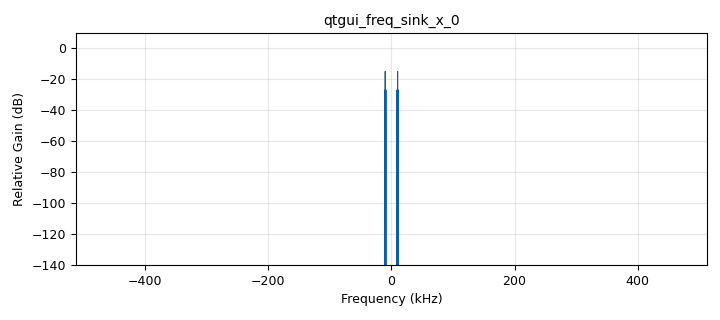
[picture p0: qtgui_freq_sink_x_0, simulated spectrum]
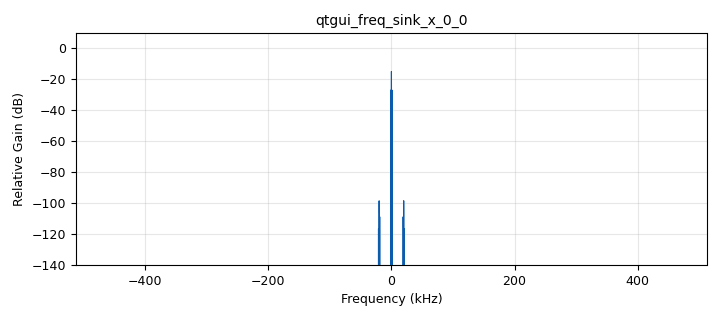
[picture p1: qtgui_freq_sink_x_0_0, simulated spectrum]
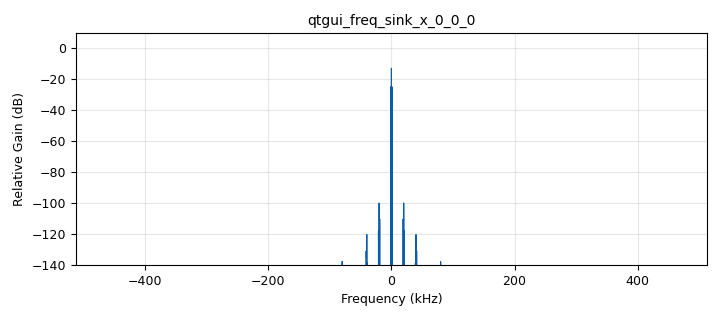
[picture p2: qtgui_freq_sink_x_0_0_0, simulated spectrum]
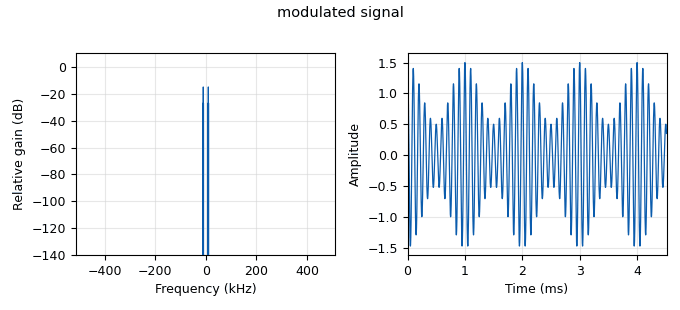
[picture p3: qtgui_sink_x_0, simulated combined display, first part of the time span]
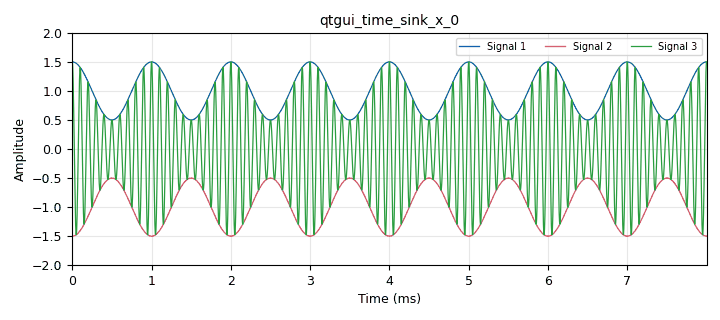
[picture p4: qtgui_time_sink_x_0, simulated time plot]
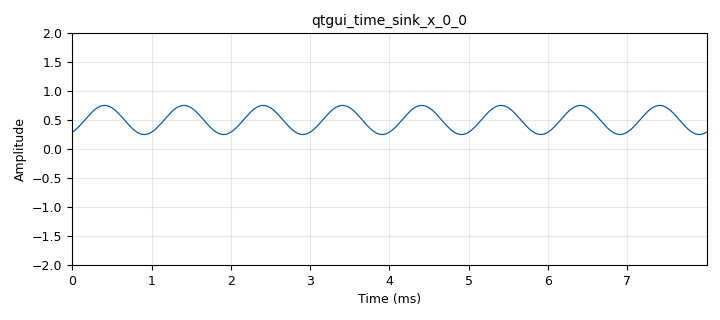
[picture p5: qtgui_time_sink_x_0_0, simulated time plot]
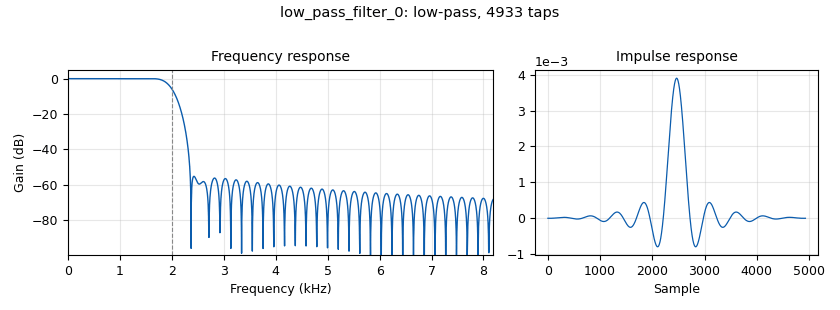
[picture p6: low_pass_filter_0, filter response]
options:
  parameters:
    generate_options: qt_gui
    id: Part1_AM_Modulation
    output_language: python
    title: Not titled yet
  states: {}

blocks:
- name: mue
  id: variable_qtgui_range
  parameters:
    label: mue
    start: '0.1'
    step: '0.1'
    stop: '2.5'
    value: '0.5'
  states: {}
- name: samp_rate
  id: variable
  parameters:
    value: 32000*32
  states: {}
- name: analog_noise_source_x_0
  id: analog_noise_source_x
  parameters:
    amp: '0'
    noise_type: analog.GR_GAUSSIAN
    seed: '0'
    type: float
  states: {}
- name: analog_sig_source_x_0
  id: analog_sig_source_x
  parameters:
    amp: '1'
    freq: '1000'
    offset: '0'
    phase: '0'
    samp_rate: samp_rate
    type: float
    waveform: analog.GR_COS_WAVE
  states: {}
- name: analog_sig_source_x_1
  id: analog_sig_source_x
  parameters:
    amp: '1'
    freq: '10000'
    offset: '0'
    phase: '0'
    samp_rate: samp_rate
    type: float
    waveform: analog.GR_COS_WAVE
  states: {}
- name: blocks_abs_xx_0
  id: blocks_abs_xx
  parameters:
    type: float
  states: {}
- name: blocks_add_const_vxx_0
  id: blocks_add_const_vxx
  parameters:
    const: '1'
    type: float
  states: {}
- name: blocks_add_xx_0
  id: blocks_add_xx
  parameters:
    type: float
  states: {}
- name: blocks_multiply_const_vxx_0
  id: blocks_multiply_const_vxx
  parameters:
    const: mue
    type: float
  states: {}
- name: blocks_multiply_const_vxx_1
  id: blocks_multiply_const_vxx
  parameters:
    const: '-1'
    type: float
  states: {}
- name: blocks_multiply_xx_0
  id: blocks_multiply_xx
  parameters:
    type: float
  states: {}
- name: blocks_multiply_xx_0_0
  id: blocks_multiply_xx
  parameters:
    type: float
  states: {}
- name: blocks_throttle2_0
  id: blocks_throttle2
  parameters:
    samples_per_second: samp_rate
    type: float
  states: {}
- name: low_pass_filter_0
  id: low_pass_filter
  parameters:
    cutoff_freq: '2000'
    decim: '1'
    gain: '1'
    samp_rate: samp_rate
    type: fir_filter_fff
    width: '500'
    win: window.WIN_HAMMING
  states: {}
- name: low_pass_filter_0_0
  id: low_pass_filter
  parameters:
    cutoff_freq: '2000'
    decim: '1'
    gain: '1'
    samp_rate: samp_rate
    type: fir_filter_fff
    width: '500'
    win: window.WIN_HAMMING
  states: {}
- name: qtgui_freq_sink_x_0
  id: qtgui_freq_sink_x
  parameters:
    bw: samp_rate
    fc: '0'
    fftsize: '16384'
    type: float
  states: {}
- name: qtgui_freq_sink_x_0_0
  id: qtgui_freq_sink_x
  parameters:
    bw: samp_rate
    fc: '0'
    fftsize: '16384'
    type: float
  states: {}
- name: qtgui_freq_sink_x_0_0_0
  id: qtgui_freq_sink_x
  parameters:
    bw: samp_rate
    fc: '0'
    fftsize: '16384'
    type: float
  states: {}
- name: qtgui_sink_x_0
  id: qtgui_sink_x
  parameters:
    bw: samp_rate
    fc: '0'
    fftsize: '16384'
    name: '"modulated signal"'
    type: float
  states: {}
- name: qtgui_time_sink_x_0
  id: qtgui_time_sink_x
  parameters:
    nconnections: '3'
    size: 2048*4
    srate: samp_rate
    type: float
    ymax: '2'
    ymin: '-2'
  states: {}
- name: qtgui_time_sink_x_0_0
  id: qtgui_time_sink_x
  parameters:
    size: 2048*4
    srate: samp_rate
    type: float
    ymax: '2'
    ymin: '-2'
  states: {}
- name: qtgui_time_sink_x_0_0_0
  id: qtgui_time_sink_x
  parameters:
    size: 2048*4
    srate: samp_rate
    type: float
    ymax: '2'
    ymin: '-2'
  states: {}
- name: virtual_sink_0
  id: virtual_sink
  parameters:
    stream_id: message signal
  states: {}
- name: virtual_sink_1
  id: virtual_sink
  parameters:
    stream_id: modulated signal
  states: {}
- name: virtual_sink_1_0
  id: virtual_sink
  parameters:
    stream_id: carrier
  states: {}
- name: virtual_sink_1_1
  id: virtual_sink
  parameters:
    stream_id: throttel
  states: {}
- name: virtual_source_0
  id: virtual_source
  parameters:
    stream_id: message signal
  states: {}
- name: virtual_source_1
  id: virtual_source
  parameters:
    stream_id: modulated signal
  states: {}
- name: virtual_source_1_0
  id: virtual_source
  parameters:
    stream_id: message signal
  states: {}
- name: virtual_source_1_0_0
  id: virtual_source
  parameters:
    stream_id: throttel
  states: {}
- name: virtual_source_1_0_0_0
  id: virtual_source
  parameters:
    stream_id: modulated signal
  states: {}
- name: virtual_source_2
  id: virtual_source
  parameters:
    stream_id: carrier
  states: {}

connections:
- [analog_noise_source_x_0, '0', blocks_add_xx_0, '1']
- [analog_sig_source_x_0, '0', blocks_multiply_const_vxx_0, '0']
- [analog_sig_source_x_1, '0', blocks_multiply_xx_0, '1']
- [analog_sig_source_x_1, '0', virtual_sink_1_0, '0']
- [blocks_abs_xx_0, '0', low_pass_filter_0_0, '0']
- [blocks_add_const_vxx_0, '0', virtual_sink_0, '0']
- [blocks_add_xx_0, '0', blocks_throttle2_0, '0']
- [blocks_multiply_const_vxx_0, '0', blocks_add_const_vxx_0, '0']
- [blocks_multiply_const_vxx_1, '0', qtgui_time_sink_x_0, '1']
- [blocks_multiply_xx_0, '0', blocks_add_xx_0, '0']
- [blocks_multiply_xx_0, '0', qtgui_sink_x_0, '0']
- [blocks_multiply_xx_0, '0', virtual_sink_1, '0']
- [blocks_multiply_xx_0_0, '0', low_pass_filter_0, '0']
- [blocks_throttle2_0, '0', virtual_sink_1_1, '0']
- [low_pass_filter_0, '0', qtgui_freq_sink_x_0_0, '0']
- [low_pass_filter_0, '0', qtgui_time_sink_x_0_0, '0']
- [low_pass_filter_0_0, '0', qtgui_freq_sink_x_0_0_0, '0']
- [low_pass_filter_0_0, '0', qtgui_time_sink_x_0_0_0, '0']
- [virtual_source_0, '0', blocks_multiply_xx_0, '0']
- [virtual_source_1, '0', qtgui_freq_sink_x_0, '0']
- [virtual_source_1, '0', qtgui_time_sink_x_0, '2']
- [virtual_source_1_0, '0', blocks_multiply_const_vxx_1, '0']
- [virtual_source_1_0, '0', qtgui_time_sink_x_0, '0']
- [virtual_source_1_0_0, '0', blocks_multiply_xx_0_0, '0']
- [virtual_source_1_0_0_0, '0', blocks_abs_xx_0, '0']
- [virtual_source_2, '0', blocks_multiply_xx_0_0, '1']

metadata:
  file_format: 1
  grc_version: 3.10.12.0
